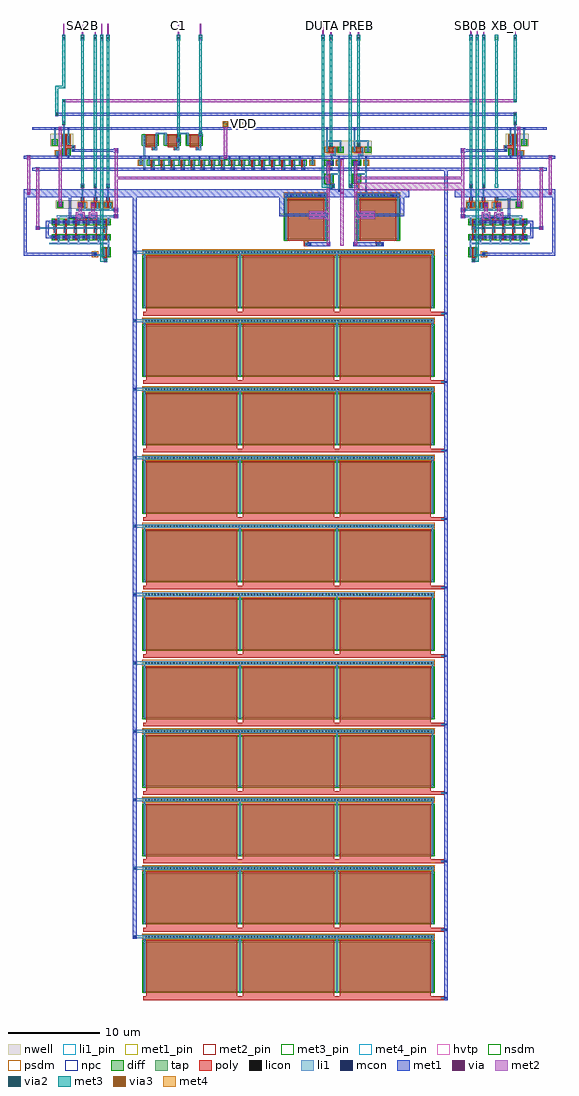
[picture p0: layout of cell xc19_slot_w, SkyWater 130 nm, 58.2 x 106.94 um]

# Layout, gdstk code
import gdstk
lib = gdstk.Library(unit=1e-6, precision=1e-09)
def R(c, l, rs):  # rectangles x0, y0, x1, y1
    for r in rs: c.add(gdstk.rectangle(r[:2], r[2:], *l))
def A(c, l, x, y, w, h, nx, ny, dx, dy):  # array of equal rectangles
    R(c, l, [(x+i*dx, y+j*dy, x+i*dx+w, y+j*dy+h) for i in range(nx) for j in range(ny)])
nwell = (64, 20)
diff = (65, 20)
tap = (65, 44)
poly = (66, 20)
licon = (66, 44)
li1_pin = (67, 16)
li1 = (67, 20)
mcon = (67, 44)
met1_pin = (68, 16)
met1 = (68, 20)
via = (68, 44)
met2_pin = (69, 16)
met2 = (69, 20)
via2 = (69, 44)
met3_pin = (70, 16)
met3 = (70, 20)
via3 = (70, 44)
met4_pin = (71, 16)
met4 = (71, 20)
hvtp = (78, 44)
nsdm = (93, 44)
psdm = (94, 20)
npc = (95, 20)

xc19_slot_core = lib.new_cell('xc19_slot_core')
R(xc19_slot_core, nwell, [(-10.1,-4.82,-3.8,-3.92), (34.8,-4.82,41.1,-3.92), (19.2,1.1,24.5,2.6), (-10.7,2.02,-8.2,3.4), (39.2,2.02,41.7,3.4)])
A(xc19_slot_core, diff, -0.5, -90.64, 31.8, 5.5, 1, 11, 0, 7.5)
A(xc19_slot_core, diff, -10.45, -8.16, 0.75, 0.42, 6, 2, 1.1, 1.66)
A(xc19_slot_core, diff, 35.2, -8.16, 0.75, 0.42, 6, 2, 1.1, 1.66)
A(xc19_slot_core, diff, -7.55, -4.62, 0.75, 0.42, 3, 1, 1.4, 0)
A(xc19_slot_core, diff, 35, -4.62, 0.75, 0.42, 3, 1, 1.4, 0)
A(xc19_slot_core, diff, 0, 0, 0.75, 0.42, 16, 1, 1.1, 0)
A(xc19_slot_core, diff, -0.54, 2.2, 1.6, 1, 3, 1, 2.4, 0)
R(xc19_slot_core, diff, [(-4.95,-10.02,-4.2,-9.18), (35.2,-10.02,35.95,-9.18), (15,-8.2,19.6,-3.9), (22.9,-8.2,27.5,-3.9), (19.5,-1.96,20.25,-1.12), (22.5,-1.96,23.25,-1.12), (19.5,0,20.25,0.42), (22.5,0,23.25,0.42), (-9.35,1.03,-8.6,1.68), (39.6,1.03,40.35,1.68), (19.5,1.4,20.6,1.82), (22.5,1.4,23.6,1.82), (-9.35,2.2,-8.6,3.2), (39.6,2.2,40.35,3.2)])
A(xc19_slot_core, tap, -0.5, -84.82, 31.8, 0.42, 1, 11, 0, 7.5)
R(xc19_slot_core, tap, [(-6.02,-10.02,-5.6,-9.6), (36.6,-10.02,37.02,-9.6), (-9.82,-4.62,-9.4,-4.2), (40.4,-4.62,40.82,-4.2), (15,-3.58,19.6,-3.16), (22.9,-3.58,27.5,-3.16), (-1.01,0,-0.59,0.42), (17.79,0,18.21,0.42), (20.69,0,21.11,0.42), (23.69,0,24.11,0.42), (-10.12,1.03,-9.7,1.45), (40.7,1.03,41.12,1.45), (20.89,1.4,21.31,1.82), (23.89,1.4,24.31,1.82), (-10.42,2.2,-10,2.62), (41,2.2,41.42,2.62)])
A(xc19_slot_core, poly, -0.5, -91.54, 32.95, 0.4, 1, 11, 0, 7.5)
A(xc19_slot_core, poly, -0.2, -91.14, 10, 6.13, 3, 11, 10.6, 7.5)
A(xc19_slot_core, poly, -10.15, -8.29, 0.15, 0.84, 6, 2, 1.1, 1.5)
A(xc19_slot_core, poly, 35.5, -8.29, 0.15, 0.84, 6, 2, 1.1, 1.5)
A(xc19_slot_core, poly, -10.34, -7.45, 0.34, 0.66, 6, 1, 1.1, 0)
A(xc19_slot_core, poly, 35.5, -7.45, 0.34, 0.66, 6, 1, 1.1, 0)
A(xc19_slot_core, poly, -7.25, -4.75, 0.15, 0.68, 3, 1, 1.4, 0)
A(xc19_slot_core, poly, 35.3, -4.75, 0.15, 0.68, 3, 1, 1.4, 0)
A(xc19_slot_core, poly, -7.335, -4.07, 0.32, 0.55, 3, 1, 1.4, 0)
A(xc19_slot_core, poly, 35.215, -4.07, 0.32, 0.55, 3, 1, 1.4, 0)
A(xc19_slot_core, poly, 0.3, -0.62, 0.34, 0.33, 16, 1, 1.1, 0)
A(xc19_slot_core, poly, 0.3, -0.29, 0.15, 0.84, 16, 1, 1.1, 0)
A(xc19_slot_core, poly, 0.42, 1.58, 0.34, 0.33, 3, 1, 2.4, 0)
A(xc19_slot_core, poly, -0.24, 1.91, 1, 1.42, 3, 1, 2.4, 0)
R(xc19_slot_core, poly, [(-4.84,-10.7,-4.5,-10.15), (35.5,-10.7,35.84,-10.15), (-4.65,-10.15,-4.5,-9.05), (35.5,-10.15,35.65,-9.05), (17.05,-8.95,17.55,-8.33), (24.95,-8.95,25.45,-8.33), (15.3,-8.33,19.3,-3.77), (23.2,-8.33,27.2,-3.77), (19.8,-2.62,20.14,-2.09), (22.8,-2.62,23.14,-2.09), (19.8,-2.09,19.95,-0.99), (22.8,-2.09,22.95,-0.99), (19.8,-0.62,20.14,-0.29), (22.8,-0.62,23.14,-0.29), (19.8,-0.29,19.95,0.55), (22.8,-0.29,22.95,0.55), (-9.05,0.9,-8.9,1.8), (39.9,0.9,40.05,1.8), (19.8,1.27,20.3,1.95), (22.8,1.27,23.3,1.95), (-9.05,1.8,-8,2.1), (39,1.8,40.05,2.1), (19.915,1.95,20.185,2.37), (22.915,1.95,23.185,2.37), (-9.05,2.1,-8.9,3.33), (39.9,2.1,40.05,3.33)])
A(xc19_slot_core, licon, 32.2, -91.425, 0.17, 0.17, 1, 11, 0, 7.5)
A(xc19_slot_core, licon, -0.46, -90.525, 0.17, 0.17, 1, 16, 0, 0.34)
A(xc19_slot_core, licon, 10.015, -90.525, 0.17, 0.17, 1, 16, 0, 0.34)
A(xc19_slot_core, licon, 20.615, -90.525, 0.17, 0.17, 1, 16, 0, 0.34)
A(xc19_slot_core, licon, 31.09, -90.525, 0.17, 0.17, 1, 16, 0, 0.34)
A(xc19_slot_core, licon, -0.325, -84.695, 0.17, 0.17, 93, 11, 0.34, 7.5)
A(xc19_slot_core, licon, -0.46, -83.025, 0.17, 0.17, 1, 16, 0, 0.34)
A(xc19_slot_core, licon, 10.015, -83.025, 0.17, 0.17, 1, 16, 0, 0.34)
A(xc19_slot_core, licon, 20.615, -83.025, 0.17, 0.17, 1, 16, 0, 0.34)
A(xc19_slot_core, licon, 31.09, -83.025, 0.17, 0.17, 1, 16, 0, 0.34)
A(xc19_slot_core, licon, -0.46, -75.525, 0.17, 0.17, 1, 16, 0, 0.34)
A(xc19_slot_core, licon, 10.015, -75.525, 0.17, 0.17, 1, 16, 0, 0.34)
A(xc19_slot_core, licon, 20.615, -75.525, 0.17, 0.17, 1, 16, 0, 0.34)
A(xc19_slot_core, licon, 31.09, -75.525, 0.17, 0.17, 1, 16, 0, 0.34)
A(xc19_slot_core, licon, -0.46, -68.025, 0.17, 0.17, 1, 16, 0, 0.34)
A(xc19_slot_core, licon, 10.015, -68.025, 0.17, 0.17, 1, 16, 0, 0.34)
A(xc19_slot_core, licon, 20.615, -68.025, 0.17, 0.17, 1, 16, 0, 0.34)
A(xc19_slot_core, licon, 31.09, -68.025, 0.17, 0.17, 1, 16, 0, 0.34)
A(xc19_slot_core, licon, -0.46, -60.525, 0.17, 0.17, 1, 16, 0, 0.34)
A(xc19_slot_core, licon, 10.015, -60.525, 0.17, 0.17, 1, 16, 0, 0.34)
A(xc19_slot_core, licon, 20.615, -60.525, 0.17, 0.17, 1, 16, 0, 0.34)
A(xc19_slot_core, licon, 31.09, -60.525, 0.17, 0.17, 1, 16, 0, 0.34)
A(xc19_slot_core, licon, -0.46, -53.025, 0.17, 0.17, 1, 16, 0, 0.34)
A(xc19_slot_core, licon, 10.015, -53.025, 0.17, 0.17, 1, 16, 0, 0.34)
A(xc19_slot_core, licon, 20.615, -53.025, 0.17, 0.17, 1, 16, 0, 0.34)
A(xc19_slot_core, licon, 31.09, -53.025, 0.17, 0.17, 1, 16, 0, 0.34)
A(xc19_slot_core, licon, -0.46, -45.525, 0.17, 0.17, 1, 16, 0, 0.34)
A(xc19_slot_core, licon, 10.015, -45.525, 0.17, 0.17, 1, 16, 0, 0.34)
A(xc19_slot_core, licon, 20.615, -45.525, 0.17, 0.17, 1, 16, 0, 0.34)
A(xc19_slot_core, licon, 31.09, -45.525, 0.17, 0.17, 1, 16, 0, 0.34)
A(xc19_slot_core, licon, -0.46, -38.025, 0.17, 0.17, 1, 16, 0, 0.34)
A(xc19_slot_core, licon, 10.015, -38.025, 0.17, 0.17, 1, 16, 0, 0.34)
A(xc19_slot_core, licon, 20.615, -38.025, 0.17, 0.17, 1, 16, 0, 0.34)
A(xc19_slot_core, licon, 31.09, -38.025, 0.17, 0.17, 1, 16, 0, 0.34)
A(xc19_slot_core, licon, -0.46, -30.525, 0.17, 0.17, 1, 16, 0, 0.34)
A(xc19_slot_core, licon, 10.015, -30.525, 0.17, 0.17, 1, 16, 0, 0.34)
A(xc19_slot_core, licon, 20.615, -30.525, 0.17, 0.17, 1, 16, 0, 0.34)
A(xc19_slot_core, licon, 31.09, -30.525, 0.17, 0.17, 1, 16, 0, 0.34)
A(xc19_slot_core, licon, -0.46, -23.025, 0.17, 0.17, 1, 16, 0, 0.34)
A(xc19_slot_core, licon, 10.015, -23.025, 0.17, 0.17, 1, 16, 0, 0.34)
A(xc19_slot_core, licon, 20.615, -23.025, 0.17, 0.17, 1, 16, 0, 0.34)
A(xc19_slot_core, licon, 31.09, -23.025, 0.17, 0.17, 1, 16, 0, 0.34)
A(xc19_slot_core, licon, -0.46, -15.525, 0.17, 0.17, 1, 16, 0, 0.34)
A(xc19_slot_core, licon, 10.015, -15.525, 0.17, 0.17, 1, 16, 0, 0.34)
A(xc19_slot_core, licon, 20.615, -15.525, 0.17, 0.17, 1, 16, 0, 0.34)
A(xc19_slot_core, licon, 31.09, -15.525, 0.17, 0.17, 1, 16, 0, 0.34)
A(xc19_slot_core, licon, 15.04, -8.005, 0.17, 0.17, 1, 12, 0, 0.34)
A(xc19_slot_core, licon, 19.39, -8.005, 0.17, 0.17, 1, 12, 0, 0.34)
A(xc19_slot_core, licon, 22.94, -8.005, 0.17, 0.17, 1, 12, 0, 0.34)
A(xc19_slot_core, licon, 27.29, -8.005, 0.17, 0.17, 1, 12, 0, 0.34)
A(xc19_slot_core, licon, -10.26, -7.04, 0.17, 0.17, 6, 1, 1.1, 0)
A(xc19_slot_core, licon, 35.59, -7.04, 0.17, 0.17, 6, 1, 1.1, 0)
A(xc19_slot_core, licon, -7.26, -3.85, 0.17, 0.17, 3, 1, 1.4, 0)
A(xc19_slot_core, licon, 35.29, -3.85, 0.17, 0.17, 3, 1, 1.4, 0)
A(xc19_slot_core, licon, 15.175, -3.455, 0.17, 0.17, 13, 1, 0.34, 0)
A(xc19_slot_core, licon, 23.075, -3.455, 0.17, 0.17, 13, 1, 0.34, 0)
A(xc19_slot_core, licon, 0.39, -0.54, 0.17, 0.17, 16, 1, 1.1, 0)
A(xc19_slot_core, licon, 0.51, 1.66, 0.17, 0.17, 3, 1, 2.4, 0)
A(xc19_slot_core, licon, -9.31, 2.275, 0.17, 0.17, 1, 3, 0, 0.34)
A(xc19_slot_core, licon, -8.81, 2.275, 0.17, 0.17, 1, 3, 0, 0.34)
A(xc19_slot_core, licon, -0.5, 2.275, 0.17, 0.17, 1, 3, 0, 0.34)
A(xc19_slot_core, licon, 0.85, 2.275, 0.17, 0.17, 1, 3, 0, 0.34)
A(xc19_slot_core, licon, 1.9, 2.275, 0.17, 0.17, 1, 3, 0, 0.34)
A(xc19_slot_core, licon, 3.25, 2.275, 0.17, 0.17, 1, 3, 0, 0.34)
A(xc19_slot_core, licon, 4.3, 2.275, 0.17, 0.17, 1, 3, 0, 0.34)
A(xc19_slot_core, licon, 5.65, 2.275, 0.17, 0.17, 1, 3, 0, 0.34)
A(xc19_slot_core, licon, 39.64, 2.275, 0.17, 0.17, 1, 3, 0, 0.34)
A(xc19_slot_core, licon, 40.14, 2.275, 0.17, 0.17, 1, 3, 0, 0.34)
R(xc19_slot_core, licon, [(-4.76,-10.58,-4.59,-10.41), (35.59,-10.58,35.76,-10.41), (-5.895,-9.895,-5.725,-9.725), (36.725,-9.895,36.895,-9.725), (-4.91,-9.855,-4.74,-9.685), (-4.41,-9.855,-4.24,-9.685), (35.24,-9.855,35.41,-9.685), (35.74,-9.855,35.91,-9.685), (-4.91,-9.515,-4.74,-9.345), (-4.41,-9.515,-4.24,-9.345), (35.24,-9.515,35.41,-9.345), (35.74,-9.515,35.91,-9.345), (17.215,-8.82,17.385,-8.65), (25.115,-8.82,25.285,-8.65), (-10.41,-8.035,-10.24,-7.865), (-9.91,-8.035,-9.74,-7.865), (-9.31,-8.035,-9.14,-7.865), (-8.81,-8.035,-8.64,-7.865), (-8.21,-8.035,-8.04,-7.865), (-7.71,-8.035,-7.54,-7.865), (-7.11,-8.035,-6.94,-7.865), (-6.61,-8.035,-6.44,-7.865), (-6.01,-8.035,-5.84,-7.865), (-5.51,-8.035,-5.34,-7.865), (-4.91,-8.035,-4.74,-7.865), (-4.41,-8.035,-4.24,-7.865), (35.24,-8.035,35.41,-7.865), (35.74,-8.035,35.91,-7.865), (36.34,-8.035,36.51,-7.865), (36.84,-8.035,37.01,-7.865), (37.44,-8.035,37.61,-7.865), (37.94,-8.035,38.11,-7.865), (38.54,-8.035,38.71,-7.865), (39.04,-8.035,39.21,-7.865), (39.64,-8.035,39.81,-7.865), (40.14,-8.035,40.31,-7.865), (40.74,-8.035,40.91,-7.865), (41.24,-8.035,41.41,-7.865), (-10.41,-6.375,-10.24,-6.205), (-9.91,-6.375,-9.74,-6.205), (-9.31,-6.375,-9.14,-6.205), (-8.81,-6.375,-8.64,-6.205), (-8.21,-6.375,-8.04,-6.205), (-7.71,-6.375,-7.54,-6.205), (-7.11,-6.375,-6.94,-6.205), (-6.61,-6.375,-6.44,-6.205), (-6.01,-6.375,-5.84,-6.205), (-5.51,-6.375,-5.34,-6.205), (-4.91,-6.375,-4.74,-6.205), (-4.41,-6.375,-4.24,-6.205), (35.24,-6.375,35.41,-6.205), (35.74,-6.375,35.91,-6.205), (36.34,-6.375,36.51,-6.205), (36.84,-6.375,37.01,-6.205), (37.44,-6.375,37.61,-6.205), (37.94,-6.375,38.11,-6.205), (38.54,-6.375,38.71,-6.205), (39.04,-6.375,39.21,-6.205), (39.64,-6.375,39.81,-6.205), (40.14,-6.375,40.31,-6.205), (40.74,-6.375,40.91,-6.205), (41.24,-6.375,41.41,-6.205), (-9.695,-4.495,-9.525,-4.325), (-7.51,-4.495,-7.34,-4.325), (-7.01,-4.495,-6.84,-4.325), (-6.11,-4.495,-5.94,-4.325), (-5.61,-4.495,-5.44,-4.325), (-4.71,-4.495,-4.54,-4.325), (-4.21,-4.495,-4.04,-4.325), (35.04,-4.495,35.21,-4.325), (35.54,-4.495,35.71,-4.325), (36.44,-4.495,36.61,-4.325), (36.94,-4.495,37.11,-4.325), (37.84,-4.495,38.01,-4.325), (38.34,-4.495,38.51,-4.325), (40.525,-4.495,40.695,-4.325), (19.89,-2.54,20.06,-2.37), (22.89,-2.54,23.06,-2.37), (19.54,-1.795,19.71,-1.625), (20.04,-1.795,20.21,-1.625), (22.54,-1.795,22.71,-1.625), (23.04,-1.795,23.21,-1.625), (19.54,-1.455,19.71,-1.285), (20.04,-1.455,20.21,-1.285), (22.54,-1.455,22.71,-1.285), (23.04,-1.455,23.21,-1.285), (19.89,-0.54,20.06,-0.37), (22.89,-0.54,23.06,-0.37), (-0.885,0.125,-0.715,0.295), (0.04,0.125,0.21,0.295), (0.54,0.125,0.71,0.295), (1.14,0.125,1.31,0.295), (1.64,0.125,1.81,0.295), (2.24,0.125,2.41,0.295), (2.74,0.125,2.91,0.295), (3.34,0.125,3.51,0.295), (3.84,0.125,4.01,0.295), (4.44,0.125,4.61,0.295), (4.94,0.125,5.11,0.295), (5.54,0.125,5.71,0.295), (6.04,0.125,6.21,0.295), (6.64,0.125,6.81,0.295), (7.14,0.125,7.31,0.295), (7.74,0.125,7.91,0.295), (8.24,0.125,8.41,0.295), (8.84,0.125,9.01,0.295), (9.34,0.125,9.51,0.295), (9.94,0.125,10.11,0.295), (10.44,0.125,10.61,0.295), (11.04,0.125,11.21,0.295), (11.54,0.125,11.71,0.295), (12.14,0.125,12.31,0.295), (12.64,0.125,12.81,0.295), (13.24,0.125,13.41,0.295), (13.74,0.125,13.91,0.295), (14.34,0.125,14.51,0.295), (14.84,0.125,15.01,0.295), (15.44,0.125,15.61,0.295), (15.94,0.125,16.11,0.295), (16.54,0.125,16.71,0.295), (17.04,0.125,17.21,0.295), (17.915,0.125,18.085,0.295), (19.54,0.125,19.71,0.295), (20.04,0.125,20.21,0.295), (20.815,0.125,20.985,0.295), (22.54,0.125,22.71,0.295), (23.04,0.125,23.21,0.295), (23.815,0.125,23.985,0.295), (-9.31,1.1,-9.14,1.27), (-8.81,1.1,-8.64,1.27), (39.64,1.1,39.81,1.27), (40.14,1.1,40.31,1.27), (-9.995,1.155,-9.825,1.325), (40.825,1.155,40.995,1.325), (-9.31,1.44,-9.14,1.61), (-8.81,1.44,-8.64,1.61), (39.64,1.44,39.81,1.61), (40.14,1.44,40.31,1.61), (19.54,1.525,19.71,1.695), (20.39,1.525,20.56,1.695), (21.015,1.525,21.185,1.695), (22.54,1.525,22.71,1.695), (23.39,1.525,23.56,1.695), (24.015,1.525,24.185,1.695), (-8.27,1.865,-8.1,2.035), (39.1,1.865,39.27,2.035), (19.965,2.07,20.135,2.24), (22.965,2.07,23.135,2.24), (-10.295,2.325,-10.125,2.495), (41.125,2.325,41.295,2.495)])
A(xc19_slot_core, li1_pin, -7.26, -3.93, 0.17, 0.35, 3, 1, 1.4, 0)
R(xc19_slot_core, li1_pin, [(-4.76,-10.67,-4.59,-10.32), (35.59,-10.67,35.76,-10.32), (35.29,-3.93,35.46,-3.58), (36.69,-3.93,36.86,-3.58), (19.89,-2.62,20.06,-2.29), (22.89,-2.62,23.06,-2.29), (20.04,0.6,20.21,0.9), (23.04,0.6,23.21,0.9), (-9.31,1.8,-9.14,2.1), (40.14,1.8,40.31,2.1), (19.965,1.99,20.135,2.32), (22.965,1.99,23.135,2.32), (3.25,2.4,3.42,3), (5.65,3.2,5.82,3.47)])
A(xc19_slot_core, li1, 32.12, -91.425, 0.68, 0.17, 1, 11, 0, 7.5)
A(xc19_slot_core, li1, -0.46, -90.69, 0.17, 5.91, 1, 11, 0, 7.5)
A(xc19_slot_core, li1, 10.015, -90.69, 0.17, 5.91, 1, 11, 0, 7.5)
A(xc19_slot_core, li1, 20.615, -90.69, 0.17, 5.91, 1, 11, 0, 7.5)
A(xc19_slot_core, li1, 31.09, -90.69, 0.17, 5.91, 1, 11, 0, 7.5)
A(xc19_slot_core, li1, -1.55, -84.78, 32.85, 0.34, 1, 11, 0, 7.5)
A(xc19_slot_core, li1, -9.91, -8.59, 0.17, 0.87, 6, 1, 1.1, 0)
A(xc19_slot_core, li1, 35.24, -8.59, 0.17, 0.87, 6, 1, 1.1, 0)
A(xc19_slot_core, li1, -10.41, -8.18, 0.17, 0.46, 6, 2, 1.1, 1.66)
A(xc19_slot_core, li1, 35.74, -8.18, 0.17, 0.46, 6, 2, 1.1, 1.66)
A(xc19_slot_core, li1, -10.26, -7.45, 0.17, 0.41, 6, 1, 1.1, 0)
A(xc19_slot_core, li1, 35.59, -7.45, 0.17, 0.41, 6, 1, 1.1, 0)
A(xc19_slot_core, li1, -10.26, -6.87, 0.17, 0.08, 6, 1, 1.1, 0)
A(xc19_slot_core, li1, 35.59, -6.87, 0.17, 0.08, 6, 1, 1.1, 0)
A(xc19_slot_core, li1, -9.91, -6.52, 0.17, 0.77, 6, 1, 1.1, 0)
A(xc19_slot_core, li1, 35.24, -6.52, 0.17, 0.77, 6, 1, 1.1, 0)
A(xc19_slot_core, li1, -7.01, -4.88, 0.17, 0.7, 3, 1, 1.4, 0)
A(xc19_slot_core, li1, 35.04, -4.88, 0.17, 0.7, 3, 1, 1.4, 0)
A(xc19_slot_core, li1, -7.51, -4.64, 0.17, 0.46, 3, 1, 1.4, 0)
A(xc19_slot_core, li1, 35.54, -4.64, 0.17, 0.46, 3, 1, 1.4, 0)
A(xc19_slot_core, li1, -7.26, -3.93, 0.17, 0.35, 3, 1, 1.4, 0)
A(xc19_slot_core, li1, 0.39, -0.62, 0.32, 0.33, 16, 1, 1.1, 0)
A(xc19_slot_core, li1, 0.54, -0.29, 0.17, 0.73, 16, 1, 1.1, 0)
A(xc19_slot_core, li1, 0.04, -0.02, 0.17, 0.97, 16, 1, 1.1, 0)
A(xc19_slot_core, li1, 0.51, 1.58, 0.51, 0.17, 3, 1, 2.4, 0)
A(xc19_slot_core, li1, 0.51, 1.75, 0.17, 0.16, 3, 1, 2.4, 0)
R(xc19_slot_core, li1, [(-4.76,-10.67,-4.59,-10.32), (35.59,-10.67,35.76,-10.32), (-5.895,-10.04,-5.725,-10.02), (-4.91,-10.04,-4.74,-10.02), (-4.41,-10.04,-4.24,-8.76), (35.24,-10.04,35.41,-8.76), (35.74,-10.04,35.91,-10.02), (36.725,-10.04,36.895,-10.02), (-5.895,-10.02,-4.74,-9.85), (35.74,-10.02,36.895,-9.85), (-5.895,-9.85,-5.725,-9.58), (-4.91,-9.85,-4.74,-9.16), (35.74,-9.85,35.91,-9.16), (36.725,-9.85,36.895,-9.58), (17.215,-8.9,17.9,-8.57), (25.115,-8.9,25.8,-8.57), (-10.8,-8.76,-4.24,-8.59), (35.24,-8.76,41.8,-8.59), (15.04,-8.25,15.21,-3.54), (19.39,-8.25,19.56,-3.54), (22.94,-8.25,23.11,-3.54), (27.29,-8.25,27.46,-3.54), (-12.3,-7.04,-4.59,-6.87), (35.59,-7.04,43.3,-6.87), (-10,-5.75,-3.3,-5.58), (34.3,-5.75,41,-5.58), (-7.85,-5.05,-3.3,-4.88), (34.3,-5.05,38.85,-4.88), (-9.775,-4.64,-9.525,-3.76), (40.525,-4.64,40.775,-3.93), (35.29,-3.93,35.46,-3.58), (36.69,-3.93,36.86,-3.58), (38.09,-3.93,40.775,-3.76), (38.09,-3.76,38.26,-3.58), (15,-3.54,19.6,-3.2), (22.9,-3.54,27.5,-3.2), (20.815,-3,20.985,-1.1), (23.815,-3,23.985,-1.1), (19.89,-2.62,20.06,-2.29), (22.89,-2.62,23.06,-2.29), (19.54,-1.98,19.71,0.44), (20.04,-1.98,20.21,-1.1), (22.54,-1.98,22.71,0.44), (23.04,-1.98,23.21,-1.1), (20.04,-1.1,20.985,-0.93), (23.04,-1.1,23.985,-0.93), (20.815,-0.93,20.985,0.95), (23.815,-0.93,23.985,0.95), (-0.5,-0.62,-0.33,3.22), (19.89,-0.62,20.06,-0.29), (22.89,-0.62,23.06,-0.29), (-0.885,-0.02,-0.715,0.95), (17.915,-0.02,18.085,0.95), (20.04,-0.02,20.21,1.03), (23.04,-0.02,23.21,1.03), (-9.995,0.66,-9.825,1.47), (-8.81,0.66,-8.64,1.7), (39.64,0.66,39.81,1.7), (40.825,0.66,40.995,1.47), (-9.31,1.01,-9.14,3.22), (40.14,1.01,40.31,3.22), (20.04,1.03,20.56,1.2), (23.04,1.03,23.56,1.2), (20.39,1.2,20.56,1.84), (23.39,1.2,23.56,1.84), (19.54,1.38,19.71,2.5), (21.015,1.38,21.185,2.5), (22.54,1.38,22.71,2.5), (24.015,1.38,24.185,2.5), (-8.35,1.4,-8.02,2.1), (39.02,1.4,39.35,2.1), (0.85,1.75,1.02,3.3), (3.25,1.75,3.42,3.3), (5.65,1.75,5.82,3.7), (19.965,1.99,20.135,2.32), (22.965,1.99,23.135,2.32), (-10.295,2.18,-10.125,4.1), (-8.81,2.18,-8.64,4.1), (1.9,2.18,2.07,3.3), (4.3,2.18,4.47,3.3), (39.64,2.18,39.81,4.1), (41.125,2.18,41.295,4.1), (19.54,2.5,21.185,2.67), (22.54,2.5,24.185,2.67), (19.54,2.67,19.71,4.1), (22.54,2.67,22.71,4.1), (0.85,3.3,2.07,3.47), (3.25,3.3,4.47,3.47)])
A(xc19_slot_core, mcon, 32.55, -91.425, 0.17, 0.17, 1, 11, 0, 7.5)
A(xc19_slot_core, mcon, -1.5, -84.695, 0.17, 0.17, 1, 11, 0, 7.5)
A(xc19_slot_core, mcon, -10.41, -8.035, 0.17, 0.17, 6, 2, 1.1, 1.66)
A(xc19_slot_core, mcon, 35.74, -8.035, 0.17, 0.17, 6, 2, 1.1, 1.66)
A(xc19_slot_core, mcon, 0.54, -0.6, 0.17, 0.17, 16, 1, 1.1, 0)
A(xc19_slot_core, mcon, 0.04, 0.72, 0.17, 0.17, 16, 1, 1.1, 0)
R(xc19_slot_core, mcon, [(-5.895,-9.895,-5.725,-9.725), (36.725,-9.895,36.895,-9.725), (17.65,-8.82,17.82,-8.65), (25.55,-8.82,25.72,-8.65), (-12.17,-7.04,-12,-6.87), (43,-7.04,43.17,-6.87), (-3.57,-5.75,-3.4,-5.58), (34.4,-5.75,34.57,-5.58), (-3.57,-5.05,-3.4,-4.88), (34.4,-5.05,34.57,-4.88), (-9.695,-4.495,-9.525,-4.325), (-7.51,-4.495,-7.34,-4.325), (-6.11,-4.495,-5.94,-4.325), (36.94,-4.495,37.11,-4.325), (38.34,-4.495,38.51,-4.325), (40.525,-4.495,40.695,-4.325), (15.6,-3.455,15.77,-3.285), (18.83,-3.455,19,-3.285), (23.5,-3.455,23.67,-3.285), (26.73,-3.455,26.9,-3.285), (20.815,-2.98,20.985,-2.81), (23.815,-2.98,23.985,-2.81), (-0.5,-0.6,-0.33,-0.43), (19.89,-0.6,20.06,-0.43), (22.89,-0.6,23.06,-0.43), (20.04,0.05,20.21,0.22), (23.04,0.05,23.21,0.22), (-9.995,0.72,-9.825,0.89), (-8.81,0.72,-8.64,0.89), (-0.885,0.72,-0.715,0.89), (17.915,0.72,18.085,0.89), (20.815,0.72,20.985,0.89), (23.815,0.72,23.985,0.89), (39.64,0.72,39.81,0.89), (40.825,0.72,40.995,0.89), (-8.27,1.465,-8.1,1.635), (39.1,1.465,39.27,1.635), (-10.295,3.87,-10.125,4.04), (-8.81,3.87,-8.64,4.04), (19.54,3.87,19.71,4.04), (22.54,3.87,22.71,4.04), (39.64,3.87,39.81,4.04), (41.125,3.87,41.295,4.04)])
R(xc19_slot_core, met1_pin, [(32.45,-10,32.85,-9), (14.4,-5.68,14.9,-5.38), (27.6,-5.68,28.1,-5.38), (8,0.66,9,0.95), (10,3.81,11,4.1)])
R(xc19_slot_core, met1, [(32.45,-91.54,32.85,-0.66), (-1.65,-84.85,-1.25,-3.58), (-13.6,-9.97,-5.6,-9.65), (36.6,-9.97,44.6,-9.65), (-13.6,-9.65,-13.3,-3.58), (44.3,-9.65,44.6,-3.58), (17.5,-8.97,19.98,-8.5), (22.48,-8.97,25.85,-8.5), (-11.2,-8.1,-4.68,-7.8), (35.68,-8.1,42.2,-7.8), (-11.2,-7.8,-10.9,-6.44), (41.9,-7.8,42.2,-6.44), (-12.28,-7.155,-11.88,-6.755), (42.88,-7.155,43.28,-6.755), (-11.2,-6.44,-4.68,-6.14), (35.68,-6.44,42.2,-6.14), (-8.7,-5.9,-5.75,-5.7), (-3.75,-5.9,-3.25,-5.45), (34.25,-5.9,34.75,-5.45), (36.75,-5.9,39.7,-5.7), (17.8,-5.78,19.7,-5.68), (22.8,-5.78,24.7,-5.68), (-8.7,-5.7,-8.4,-3.58), (-7.7,-5.7,-7.15,-5.4), (-6.3,-5.7,-5.75,-5.4), (36.75,-5.7,37.3,-5.4), (38.15,-5.7,38.7,-5.4), (39.4,-5.7,39.7,-3.58), (14.4,-5.68,19.7,-5.38), (22.8,-5.68,28.1,-5.38), (17.8,-5.38,19.7,-5.28), (22.8,-5.38,24.7,-5.28), (-3.75,-5.2,-3.25,-4.73), (34.25,-5.2,34.75,-4.73), (-9.81,-4.61,-9.41,-4.21), (-7.625,-4.61,-7.225,-4.21), (-6.225,-4.61,-5.825,-4.21), (36.825,-4.61,37.225,-4.21), (38.225,-4.61,38.625,-4.21), (40.41,-4.61,40.81,-4.21), (-13.6,-3.58,28.6,-2.68), (33.6,-3.58,44.6,-2.68), (-12.28,-0.715,-11.88,-0.66), (42.88,-0.715,43.28,-0.66), (-12.7,-0.66,43.7,-0.37), (-12.28,-0.37,-11.88,-0.315), (42.88,-0.37,43.28,-0.315), (19.5,-0.06,20.27,0.34), (22.5,-0.06,23.27,0.34), (-13.28,0.605,-12.88,0.66), (43.88,0.605,44.28,0.66), (-13.6,0.66,44.6,0.95), (-13.28,0.95,-12.88,1.005), (43.88,0.95,44.28,1.005), (-3.75,1.3,-3.25,1.4), (34.25,1.3,34.75,1.4), (-8.3,1.4,-3.25,1.7), (34.25,1.4,39.3,1.7), (-3.75,1.7,-3.25,1.8), (34.25,1.7,34.75,1.8), (-9.81,3.755,-9.41,3.81), (40.41,3.755,40.81,3.81), (-12.7,3.81,43.7,4.1), (-9.81,4.1,-9.41,4.155), (40.41,4.1,40.81,4.155)])
R(xc19_slot_core, via, [(19.675,-8.81,19.825,-8.66), (22.675,-8.81,22.825,-8.66), (-12.155,-7.03,-12.005,-6.88), (43.005,-7.03,43.155,-6.88), (-3.555,-5.745,-3.405,-5.595), (34.405,-5.745,34.555,-5.595), (-3.555,-5.04,-3.405,-4.89), (34.405,-5.04,34.555,-4.89), (-9.685,-4.485,-9.535,-4.335), (-7.5,-4.485,-7.35,-4.335), (-6.1,-4.485,-5.95,-4.335), (36.95,-4.485,37.1,-4.335), (38.35,-4.485,38.5,-4.335), (40.535,-4.485,40.685,-4.335), (-13.155,-3.205,-13.005,-3.055), (21.175,-3.205,21.325,-3.055), (44.005,-3.205,44.155,-3.055), (-12.155,-0.59,-12.005,-0.44), (43.005,-0.59,43.155,-0.44), (19.675,0.065,19.825,0.215), (22.675,0.065,22.825,0.215), (-13.155,0.73,-13.005,0.88), (44.005,0.73,44.155,0.88), (-3.555,1.475,-3.405,1.625), (34.405,1.475,34.555,1.625), (-9.685,3.88,-9.535,4.03), (40.535,3.88,40.685,4.03)])
R(xc19_slot_core, met2, [(19.57,-8.905,19.93,-8.565), (22.57,-8.905,22.93,-8.565), (21.05,-8.9,21.45,0.6), (19.6,-8.565,19.9,-5.98), (22.6,-8.565,22.9,-5.98), (-12.26,-7.135,-11.9,-0.335), (42.9,-7.135,43.26,-0.335), (-7.9,-6.1,-6.95,-5.2), (-6.5,-6.1,-5.55,-5.2), (36.55,-6.1,37.5,-5.2), (37.95,-6.1,38.9,-5.2), (17.6,-5.98,19.9,-5.08), (22.6,-5.98,24.9,-5.08), (-3.66,-5.9,-3.3,-1.62), (34.3,-5.9,34.66,-2.8), (-7.605,-5.2,-7.245,-4.23), (-6.205,-5.2,-5.845,-4.23), (36.845,-5.2,37.205,-4.23), (38.245,-5.2,38.605,-4.23), (19.6,-5.08,19.9,-1.62), (22.6,-5.08,22.9,-2.8), (-9.79,-4.59,-9.43,4.135), (40.43,-4.59,40.79,4.135), (-13.26,-3.31,-12.9,0.985), (43.9,-3.31,44.26,0.985), (22.6,-2.8,34.66,-2), (22.6,-2,22.9,-1.62), (34.3,-2,34.66,-1.62), (-3.66,-1.62,19.9,-1.32), (22.6,-1.62,34.66,-1.32), (-3.66,-1.32,-3.3,1.8), (19.6,-1.32,19.9,-0.05), (22.6,-1.32,22.9,-0.05), (34.3,-1.32,34.66,1.8), (19.57,-0.05,19.93,0.33), (22.57,-0.05,22.93,0.33)])
R(xc19_slot_core, hvtp, [(19.62,1.22,20.48,2), (22.62,1.22,23.48,2)])
A(xc19_slot_core, nsdm, -0.625, -90.765, 32.05, 5.75, 1, 11, 0, 7.5)
A(xc19_slot_core, nsdm, -0.665, 2.075, 1.85, 1.25, 3, 1, 2.4, 0)
R(xc19_slot_core, nsdm, [(-5.075,-10.145,-4.075,-9.055), (35.075,-10.145,36.075,-9.055), (14.875,-8.325,19.725,-3.775), (22.775,-8.325,27.625,-3.775), (-10.575,-8.285,-4.075,-7.615), (35.075,-8.285,41.575,-7.615), (-10.575,-6.625,-4.075,-5.955), (35.075,-6.625,41.575,-5.955), (-9.945,-4.745,-9.275,-4.075), (40.275,-4.745,40.945,-4.075), (19.375,-2.085,20.375,-0.995), (22.375,-2.085,23.375,-0.995), (-0.125,-0.125,17.375,0.545), (19.375,-0.125,20.375,0.545), (22.375,-0.125,23.375,0.545), (-9.475,0.905,-8.475,1.805), (39.475,0.905,40.475,1.805), (20.765,1.275,21.435,1.945), (23.765,1.275,24.435,1.945), (-10.545,2.075,-9.875,2.745), (40.875,2.075,41.545,2.745)])
A(xc19_slot_core, psdm, -0.625, -84.945, 32.05, 0.67, 1, 11, 0, 7.5)
A(xc19_slot_core, psdm, -7.675, -4.745, 1, 0.67, 3, 1, 1.4, 0)
A(xc19_slot_core, psdm, 34.875, -4.745, 1, 0.67, 3, 1, 1.4, 0)
R(xc19_slot_core, psdm, [(-6.145,-10.145,-5.475,-9.475), (36.475,-10.145,37.145,-9.475), (14.875,-3.705,19.725,-3.035), (22.775,-3.705,27.625,-3.035), (-1.135,-0.125,-0.465,0.545), (17.665,-0.125,18.335,0.545), (20.565,-0.125,21.235,0.545), (23.565,-0.125,24.235,0.545), (-10.245,0.905,-9.575,1.575), (40.575,0.905,41.245,1.575), (19.375,1.275,20.725,1.945), (22.375,1.275,23.725,1.945), (-9.475,2.075,-8.475,3.325), (39.475,2.075,40.475,3.325)])
A(xc19_slot_core, npc, 32.1, -91.525, 0.37, 0.37, 1, 11, 0, 7.5)
A(xc19_slot_core, npc, -10.36, -7.14, 0.37, 0.37, 6, 1, 1.1, 0)
A(xc19_slot_core, npc, 35.49, -7.14, 0.37, 0.37, 6, 1, 1.1, 0)
A(xc19_slot_core, npc, -7.36, -3.95, 0.37, 0.37, 3, 1, 1.4, 0)
A(xc19_slot_core, npc, 35.19, -3.95, 0.37, 0.37, 3, 1, 1.4, 0)
A(xc19_slot_core, npc, 0.29, -0.64, 0.37, 0.37, 16, 1, 1.1, 0)
A(xc19_slot_core, npc, 0.41, 1.56, 0.37, 0.37, 3, 1, 2.4, 0)
R(xc19_slot_core, npc, [(-4.86,-10.68,-4.49,-10.31), (35.49,-10.68,35.86,-10.31), (17.115,-8.92,17.485,-8.55), (25.015,-8.92,25.385,-8.55), (19.79,-2.64,20.16,-2.27), (22.79,-2.64,23.16,-2.27), (19.79,-0.64,20.16,-0.27), (22.79,-0.64,23.16,-0.27), (-8.37,1.765,-8,2.135), (39,1.765,39.37,2.135), (19.865,1.97,20.235,2.34), (22.865,1.97,23.235,2.34)])
xc19_slot_core.add(gdstk.Label('XB_OUT', (40.225,1.95), layer=67, texttype=5))
xc19_slot_core.add(gdstk.Label('SB0B', (35.375,-3.755), layer=67, texttype=5))
xc19_slot_core.add(gdstk.Label('SB1B', (36.775,-3.755), layer=67, texttype=5))
xc19_slot_core.add(gdstk.Label('REFB', (35.675,-10.495), layer=67, texttype=5))
xc19_slot_core.add(gdstk.Label('XA_OUT', (-9.225,1.95), layer=67, texttype=5))
xc19_slot_core.add(gdstk.Label('SA0B', (-4.375,-3.755), layer=67, texttype=5))
xc19_slot_core.add(gdstk.Label('SA1B', (-5.775,-3.755), layer=67, texttype=5))
xc19_slot_core.add(gdstk.Label('SA2B', (-7.175,-3.755), layer=67, texttype=5))
xc19_slot_core.add(gdstk.Label('REFA', (-4.675,-10.495), layer=67, texttype=5))
xc19_slot_core.add(gdstk.Label('VDD', (10.5,3.955), layer=68, texttype=5))
xc19_slot_core.add(gdstk.Label('GND', (8.5,0.805), layer=68, texttype=5))
xc19_slot_core.add(gdstk.Label('VBIAS', (5.735,3.335), layer=67, texttype=5))
xc19_slot_core.add(gdstk.Label('C1', (3.335,2.7), layer=67, texttype=5))
xc19_slot_core.add(gdstk.Label('PREA', (20.05,2.155), layer=67, texttype=5))
xc19_slot_core.add(gdstk.Label('XA', (20.125,0.75), layer=67, texttype=5))
xc19_slot_core.add(gdstk.Label('DUTA', (19.975,-2.455), layer=67, texttype=5))
xc19_slot_core.add(gdstk.Label('PREB', (23.05,2.155), layer=67, texttype=5))
xc19_slot_core.add(gdstk.Label('XB', (23.125,0.75), layer=67, texttype=5))
xc19_slot_core.add(gdstk.Label('DUTB', (22.975,-2.455), layer=67, texttype=5))
xc19_slot_core.add(gdstk.Label('VB', (32.65,-9.5), layer=68, texttype=5))
xc19_slot_core.add(gdstk.Label('CALA', (14.65,-5.53), layer=68, texttype=5))
xc19_slot_core.add(gdstk.Label('CALB', (27.85,-5.53), layer=68, texttype=5))

xc19_slot_w = lib.new_cell('xc19_slot_w')
A(xc19_slot_w, li1, -7.26, -3.84, 0.17, 1.65, 3, 1, 1.4, 0)
R(xc19_slot_w, li1, [(-4.76,-10.66,-4.59,-10.33), (35.59,-10.66,35.76,-10.33), (35.29,-3.84,35.46,-2.19), (36.69,-3.84,36.86,-2.19), (19.89,-2.54,20.36,-2.37), (22.19,-2.54,23.06,-2.37), (20.06,-2.37,20.36,-2.29), (22.19,-2.37,22.89,-2.29), (20.19,-2.29,20.36,-2.19), (22.19,-2.29,22.36,-2.19), (-9.31,1.865,-9.14,4.715), (40.14,1.865,40.31,4.715), (19.965,1.99,20.135,2.32), (22.965,1.99,23.135,2.32), (3.25,2.535,3.42,2.865), (5.65,3.17,5.82,3.5)])
A(xc19_slot_w, mcon, -7.26, -2.44, 0.17, 0.17, 3, 1, 1.4, 0)
R(xc19_slot_w, mcon, [(-4.76,-10.58,-4.59,-10.41), (35.59,-10.58,35.76,-10.41), (20.19,-2.44,20.36,-2.27), (22.19,-2.44,22.36,-2.27), (35.29,-2.44,35.46,-2.27), (36.69,-2.44,36.86,-2.27), (19.965,2.07,20.135,2.24), (22.965,2.07,23.135,2.24), (3.25,2.615,3.42,2.785), (5.65,3.25,5.82,3.42), (-9.31,4.465,-9.14,4.635), (40.14,4.465,40.31,4.635)])
A(xc19_slot_w, met1, -7.355, -2.535, 0.36, 0.36, 3, 1, 1.4, 0)
R(xc19_slot_w, met1, [(-4.855,-10.675,-4.495,-10.315), (35.495,-10.675,35.855,-10.315), (14.4,-5.68,14.9,-3.4), (27.6,-5.68,28.1,-3.4), (20.095,-2.535,20.455,-2.175), (22.095,-2.535,22.455,-2.175), (35.195,-2.535,35.555,-2.175), (36.595,-2.535,36.955,-2.175), (8.3,0.6,8.7,1.01), (19.87,1.975,20.23,2.335), (22.87,1.975,23.23,2.335), (3.155,2.52,3.515,2.88), (5.555,3.155,5.915,3.515), (10.2,3.81,10.8,4.75), (-9.405,4.37,-9.045,4.73), (40.045,4.37,40.405,4.73), (-10.18,5.32,40.405,5.68)])
A(xc19_slot_w, via, -7.25, -2.43, 0.15, 0.15, 3, 1, 1.4, 0)
R(xc19_slot_w, via, [(-4.75,-10.57,-4.6,-10.42), (35.6,-10.57,35.75,-10.42), (20.2,-2.43,20.35,-2.28), (22.2,-2.43,22.35,-2.28), (35.3,-2.43,35.45,-2.28), (36.7,-2.43,36.85,-2.28), (8.425,0.73,8.575,0.88), (19.975,2.08,20.125,2.23), (22.975,2.08,23.125,2.23), (3.26,2.625,3.41,2.775), (5.66,3.26,5.81,3.41), (10.425,4.375,10.575,4.525), (-9.3,4.475,-9.15,4.625), (40.15,4.475,40.3,4.625), (-10.075,5.425,-9.925,5.575), (40.15,5.425,40.3,5.575)])
A(xc19_slot_w, met2_pin, -5.845, 15.1, 0.14, 0.3, 3, 1, 0.7, 0)
A(xc19_slot_w, met2_pin, 35.305, 15.1, 0.14, 0.3, 3, 1, 0.7, 0)
R(xc19_slot_w, met2_pin, [(-9.295,15.1,-9.155,15.4), (-7.245,15.1,-7.105,15.4), (3.265,15.1,3.405,15.4), (5.665,15.1,5.805,15.4), (19.09,15.1,19.23,15.4), (19.98,15.1,20.12,15.4), (22.09,15.1,22.23,15.4), (22.98,15.1,23.12,15.4), (40.155,15.1,40.295,15.4)])
A(xc19_slot_w, met2, -7.355, -2.585, 0.36, 0.46, 3, 1, 1.4, 0)
A(xc19_slot_w, met2, -5.955, 13.635, 0.36, 0.45, 3, 1, 0.7, 0)
A(xc19_slot_w, met2, 35.195, 13.635, 0.36, 0.45, 3, 1, 0.7, 0)
A(xc19_slot_w, met2, -5.845, 14.085, 0.14, 1.315, 3, 1, 0.7, 0)
A(xc19_slot_w, met2, 35.305, 14.085, 0.14, 1.315, 3, 1, 0.7, 0)
R(xc19_slot_w, met2, [(-4.855,-10.725,-4.495,-10.265), (35.495,-10.725,35.855,-10.265), (20.095,-2.585,20.455,-2.125), (22.095,-2.585,22.455,-2.125), (35.195,-2.585,35.555,-2.125), (36.595,-2.585,36.955,-2.125), (8.32,0.62,8.68,4.65), (19.87,1.925,20.23,2.385), (22.87,1.925,23.23,2.385), (3.155,2.47,3.515,2.93), (5.555,3.105,5.915,3.565), (10.3,4.25,10.7,4.65), (-9.405,4.32,-9.045,4.78), (40.045,4.32,40.405,4.78), (-10.18,5.27,-9.82,5.73), (40.045,5.27,40.405,5.73), (-9.425,6.82,40.425,7.18), (-9.405,13.635,-9.045,14.085), (-7.355,13.635,-6.995,14.085), (3.155,13.635,3.515,14.085), (5.555,13.635,5.915,14.085), (18.98,13.635,19.34,14.085), (19.87,13.635,20.23,14.085), (21.98,13.635,22.34,14.085), (22.87,13.635,23.23,14.085), (40.045,13.635,40.405,14.085), (-9.295,14.085,-9.155,15.4), (-7.245,14.085,-7.105,15.4), (3.265,14.085,3.405,15.4), (5.665,14.085,5.805,15.4), (19.09,14.085,19.23,15.4), (19.98,14.085,20.12,15.4), (22.09,14.085,22.23,15.4), (22.98,14.085,23.12,15.4), (40.155,14.085,40.295,15.4)])
A(xc19_slot_w, via2, -7.275, -2.455, 0.2, 0.2, 3, 1, 1.4, 0)
A(xc19_slot_w, via2, -5.875, 13.76, 0.2, 0.2, 3, 1, 0.7, 0)
A(xc19_slot_w, via2, 35.275, 13.76, 0.2, 0.2, 3, 1, 0.7, 0)
R(xc19_slot_w, via2, [(-4.775,-10.595,-4.575,-10.395), (35.575,-10.595,35.775,-10.395), (20.175,-2.455,20.375,-2.255), (22.175,-2.455,22.375,-2.255), (35.275,-2.455,35.475,-2.255), (36.675,-2.455,36.875,-2.255), (19.95,2.055,20.15,2.255), (22.95,2.055,23.15,2.255), (3.235,2.6,3.435,2.8), (5.635,3.235,5.835,3.435), (8.4,4.35,8.6,4.55), (10.4,4.35,10.6,4.55), (-9.325,4.45,-9.125,4.65), (40.125,4.45,40.325,4.65), (-10.1,5.4,-9.9,5.6), (40.125,5.4,40.325,5.6), (-9.325,6.9,-9.125,7.1), (40.125,6.9,40.325,7.1), (-9.325,13.76,-9.125,13.96), (-7.275,13.76,-7.075,13.96), (3.235,13.76,3.435,13.96), (5.635,13.76,5.835,13.96), (19.06,13.76,19.26,13.96), (19.95,13.76,20.15,13.96), (22.06,13.76,22.26,13.96), (22.95,13.76,23.15,13.96), (40.125,13.76,40.325,13.96)])
R(xc19_slot_w, met3_pin, [(38.025,13.7,38.325,14)])
A(xc19_slot_w, met3, -7.355, -2.535, 0.36, 0.36, 3, 1, 1.4, 0)
A(xc19_slot_w, met3, 35.195, -2.535, 0.36, 0.36, 3, 1, 1.4, 0)
A(xc19_slot_w, met3, -7.325, -2.175, 0.3, 15.725, 3, 1, 1.4, 0)
A(xc19_slot_w, met3, 35.225, -2.175, 0.3, 15.725, 3, 1, 1.4, 0)
A(xc19_slot_w, met3, -5.955, 13.55, 0.36, 0.65, 3, 1, 0.7, 0)
A(xc19_slot_w, met3, 35.195, 13.55, 0.36, 0.65, 3, 1, 0.7, 0)
R(xc19_slot_w, met3, [(-5.225,-10.675,-4.495,-10.315), (35.495,-10.675,36.225,-10.315), (-5.225,-10.315,-4.925,13.55), (35.925,-10.315,36.225,13.55), (19.01,-2.535,20.455,-2.175), (22.01,-2.535,22.455,-2.175), (19.01,-2.175,19.31,13.55), (22.01,-2.175,22.31,13.55), (19.87,1.975,20.23,2.335), (22.87,1.975,23.23,2.335), (19.9,2.335,20.2,13.55), (22.9,2.335,23.2,13.55), (3.155,2.52,3.515,2.88), (3.185,2.88,3.485,13.55), (5.555,3.155,5.915,3.515), (5.585,3.515,5.885,13.55), (8.25,4.2,8.75,4.7), (10.25,4.2,10.75,4.7), (-9.405,4.37,-9.045,4.73), (40.045,4.37,40.405,4.73), (-9.375,4.73,-9.075,6.82), (40.075,4.73,40.375,5.32), (-10.18,5.32,-9.82,5.68), (40.045,5.32,40.405,5.68), (-10.15,5.68,-9.85,8.35), (-9.405,6.82,-9.045,7.18), (40.045,6.82,40.405,7.18), (40.075,7.18,40.375,13.55), (-10.15,8.35,-9.075,8.65), (-9.375,8.65,-9.075,13.55), (-9.405,13.55,-9.045,14.2), (-7.355,13.55,-6.995,14.2), (3.155,13.55,3.515,14.2), (5.555,13.55,5.915,14.2), (18.98,13.55,19.34,14.2), (19.87,13.55,20.23,14.2), (21.98,13.55,22.34,14.2), (22.87,13.55,23.23,14.2), (37.995,13.55,38.355,14.2), (40.045,13.55,40.405,14.2)])
R(xc19_slot_w, via3, [(8.4,4.35,8.6,4.55), (10.4,4.35,10.6,4.55)])
R(xc19_slot_w, met4_pin, [(8.2,4.15,8.8,4.75), (10.2,4.15,10.8,4.75)])
R(xc19_slot_w, met4, [(8.2,4.15,8.8,4.75), (10.2,4.15,10.8,4.75)])
xc19_slot_w.add(gdstk.Reference(xc19_slot_core, (0,0)))
xc19_slot_w.add(gdstk.Label('SA2B', (-7.175,15.25), layer=69, texttype=5))
xc19_slot_w.add(gdstk.Label('SA1B', (-5.775,15.25), layer=69, texttype=5))
xc19_slot_w.add(gdstk.Label('REFA', (-5.075,15.25), layer=69, texttype=5))
xc19_slot_w.add(gdstk.Label('SA0B', (-4.375,15.25), layer=69, texttype=5))
xc19_slot_w.add(gdstk.Label('C1', (3.335,15.25), layer=69, texttype=5))
xc19_slot_w.add(gdstk.Label('VBIAS', (5.735,15.25), layer=69, texttype=5))
xc19_slot_w.add(gdstk.Label('DUTA', (19.16,15.25), layer=69, texttype=5))
xc19_slot_w.add(gdstk.Label('PREA', (20.05,15.25), layer=69, texttype=5))
xc19_slot_w.add(gdstk.Label('DUTB', (22.16,15.25), layer=69, texttype=5))
xc19_slot_w.add(gdstk.Label('PREB', (23.05,15.25), layer=69, texttype=5))
xc19_slot_w.add(gdstk.Label('SB0B', (35.375,15.25), layer=69, texttype=5))
xc19_slot_w.add(gdstk.Label('REFB', (36.075,15.25), layer=69, texttype=5))
xc19_slot_w.add(gdstk.Label('SB1B', (36.775,15.25), layer=69, texttype=5))
xc19_slot_w.add(gdstk.Label('XB_OUT', (40.225,15.25), layer=69, texttype=5))
xc19_slot_w.add(gdstk.Label('XA_OUT', (-9.225,15.25), layer=69, texttype=5))
xc19_slot_w.add(gdstk.Label('DUMMYB', (38.175,13.85), layer=70, texttype=5))
xc19_slot_w.add(gdstk.Label('VDD', (10.5,4.45), layer=71, texttype=5))
xc19_slot_w.add(gdstk.Label('GND', (8.5,4.45), layer=71, texttype=5))

lib.write_gds('xc19_slot_w.gds')
